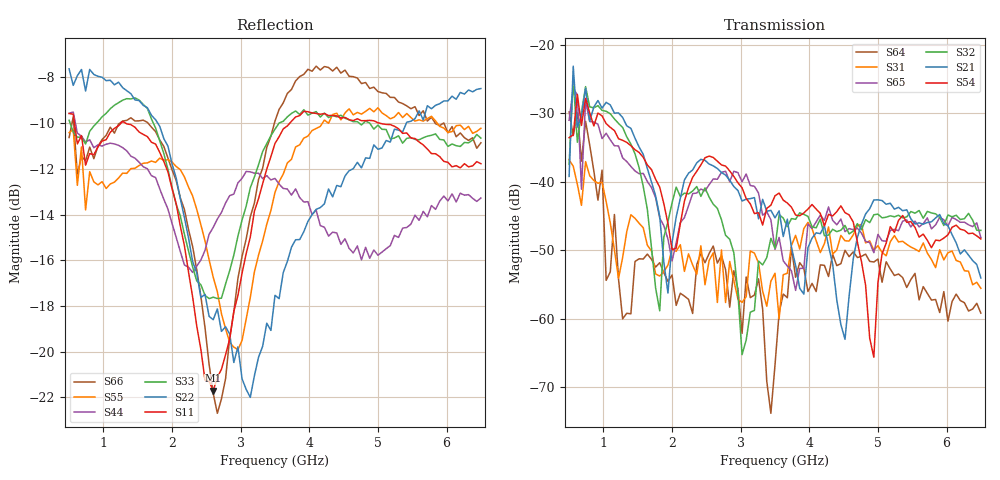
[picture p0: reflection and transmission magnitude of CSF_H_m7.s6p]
!Keysight Technologies,M9804A,MY58100912,A.14.10.03
!Date: Thursday, April 27, 2023 10:28:33
!Correction: S11(C  6-Port  )
!S12(C  6-Port  )
!S13(C  6-Port  )
!S14(C  6-Port  )
!S15(C  6-Port  )
!S16(C  6-Port  )
!S21(C  6-Port  )
!S22(C  6-Port  )
!S23(C  6-Port  )
!S24(C  6-Port  )
!S25(C  6-Port  )
!S26(C  6-Port  )
!S31(C  6-Port  )
!S32(C  6-Port  )
!S33(C  6-Port  )
!S34(C  6-Port  )
!S35(C  6-Port  )
!S36(C  6-Port  )
!S41(C  6-Port  )
!S42(C  6-Port  )
!S43(C  6-Port  )
!S44(C  6-Port  )
!S45(C  6-Port  )
!S46(C  6-Port  )
!S51(C  6-Port  )
!S52(C  6-Port  )
!S53(C  6-Port  )
!S54(C  6-Port  )
!S55(C  6-Port  )
!S56(C  6-Port  )
!S61(C  6-Port  )
!S62(C  6-Port  )
!S63(C  6-Port  )
!S64(C  6-Port  )
!S65(C  6-Port  )
!S66(C  6-Port  )
!S6P File: Measurement: :
# Hz S  RI  R 50
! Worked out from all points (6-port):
!   101 points, 500 MHz to 6.5 GHz, reference 50 ohm
!   strongest paths, dB at 500 MHz, 2 GHz, 3.5 GHz, 5 GHz, 6.5 GHz:
!     S54: -33.5, -49.9, -42.0, -54.7, -48.3
!     S21: -39.2, -48.9, -45.3, -42.6, -54.1
!     S32: -37.4, -43.0, -49.7, -44.7, -47.1
!     S65: -31.0, -51.6, -49.9, -47.7, -48.2
!     S31: -36.8, -49.8, -53.4, -49.3, -55.6
!     S64: -29.8, -53.6, -66.8, -51.3, -59.2
!   lowest |S11| = -21.7 dB at 2.6 GHz (marker M1), VSWR 1.18, Z = 42.7 + j2.03 ohm
!   |S11| at or under -10 dB: 577.8 MHz to 1.258 GHz (679.7 MHz wide, 74.1 % of centre); 1.32 GHz to 3.717 GHz (2.397 GHz wide, 95.2 % of centre); 5.017 GHz to end of sweep
